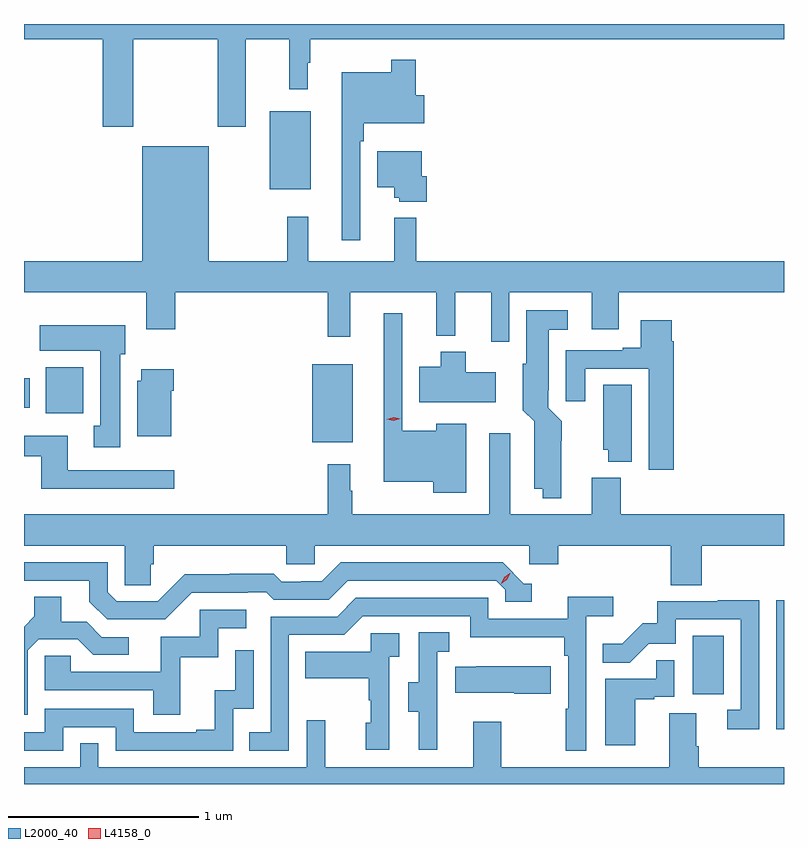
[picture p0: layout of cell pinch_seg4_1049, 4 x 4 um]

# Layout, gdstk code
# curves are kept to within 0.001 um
import gdstk
lib = gdstk.Library(unit=1e-6, precision=1e-09)
def R(c, l, rs):  # rectangles x0, y0, x1, y1
    for r in rs: c.add(gdstk.rectangle(r[:2], r[2:], *l))
def P(c, l, *ps):  # polygons
    for p in ps: c.add(gdstk.Polygon(p, *l))
L2000_40 = (2000, 40)
L4158_0 = (4158, 0)

pinch_seg4_1049 = lib.new_cell('pinch_seg4_1049')
R(pinch_seg4_1049, L2000_40, [(855.777,763.884,855.818,764.564), (855.338,764.07,855.502,764.377), (853.334,765.395,853.549,765.805), (851.933,765.548,852.13,765.79), (851.818,765.576,851.848,765.732), (853.112,766.727,853.327,767.137)])
P(pinch_seg4_1049, L2000_40, [(852.393,767.516),(852.838,767.516),(852.838,767.055),(852.985,767.055),(852.985,767.516),(853.213,767.516),(853.213,767.253),(853.312,767.253),(853.312,767.393),(853.324,767.393),(853.324,767.516),(855.818,767.516),(855.818,767.597),(851.818,767.597),(851.818,767.516),(852.233,767.516),(852.233,767.055),(852.393,767.055)],
  [(853.587,766.979),(853.607,766.979),(853.607,767.075),(853.924,767.075),(853.924,767.223),(853.88,767.223),(853.88,767.41),(853.752,767.41),(853.752,767.344),(853.49,767.344),(853.49,766.458),(853.587,766.458)],
  [(854.373,766.184),(854.807,766.184),(854.807,765.99),(854.947,765.99),(854.947,766.184),(855.818,766.184),(855.818,766.348),(853.883,766.348),(853.883,766.576),(853.766,766.576),(853.766,766.348),(853.313,766.348),(853.313,766.582),(853.203,766.582),(853.203,766.348),(852.79,766.348),(852.79,766.954),(852.44,766.954),(852.44,766.348),(851.818,766.348),(851.818,766.184),(852.461,766.184),(852.461,765.99),(852.614,765.99),(852.614,766.184),(853.417,766.184),(853.417,765.951),(853.535,765.951),(853.535,766.184),(853.988,766.184),(853.988,765.956),(854.087,765.956),(854.087,766.184),(854.276,766.184),(854.276,765.924),(854.373,765.924)],
  [(853.937,766.797),(853.912,766.797),(853.912,766.927),(853.676,766.927),(853.676,766.739),(853.766,766.739),(853.766,766.683),(853.794,766.683),(853.794,766.661),(853.937,766.661)],
  [(854.646,765.404),(854.647,765.506),(854.577,765.576),(854.577,765.67),(854.581,765.67),(854.581,765.989),(854.68,765.989),(854.68,766.09),(854.462,766.09),(854.462,765.81),(854.444,765.81),(854.444,765.565),(854.504,765.506),(854.504,765.152),(854.549,765.152),(854.549,765.101),(854.646,765.101)],
  [(854.146,765.493),(853.988,765.493),(853.988,765.457),(853.809,765.457),(853.809,766.075),(853.712,766.075),(853.712,765.188),(853.971,765.188),(853.971,765.131),(854.146,765.131)],
  [(855.239,765.926),(855.226,765.926),(855.226,766.039),(855.065,766.039),(855.065,765.892),(854.969,765.892),(854.969,765.879),(854.669,765.879),(854.669,765.612),(854.773,765.612),(854.773,765.783),(855.107,765.783),(855.107,765.252),(855.239,765.252)],
  [(852.325,765.858),(852.352,765.858),(852.352,766.012),(851.901,766.012),(851.901,765.878),(852.218,765.878),(852.218,765.482),(852.185,765.482),(852.185,765.369),(852.325,765.369)],
  [(854.302,765.763),(854.142,765.763),(854.142,765.871),(854.012,765.871),(854.012,765.793),(853.898,765.793),(853.898,765.605),(854.302,765.605)],
  [(852.592,765.668),(852.605,765.668),(852.605,765.781),(852.434,765.781),(852.434,765.72),(852.413,765.72),(852.413,765.428),(852.592,765.428)],
  [(855.016,765.698),(854.867,765.698),(854.867,765.357),(854.894,765.357),(854.894,765.293),(855.016,765.293)],
  [(852.485,764.754),(852.5,764.754),(852.5,764.852),(853.197,764.852),(853.197,764.754),(853.347,764.754),(853.347,764.852),(854.478,764.852),(854.478,764.754),(854.63,764.754),(854.63,764.852),(855.221,764.852),(855.221,764.644),(855.386,764.644),(855.386,764.852),(855.818,764.852),(855.818,765.016),(854.96,765.016),(854.96,765.208),(854.807,765.208),(854.807,765.016),(854.377,765.016),(854.377,765.442),(854.267,765.442),(854.267,765.016),(853.546,765.016),(853.546,765.14),(853.534,765.14),(853.534,765.28),(853.417,765.28),(853.417,765.016),(851.818,765.016),(851.818,764.852),(852.348,764.852),(852.348,764.644),(852.485,764.644)],
  [(852.61,765.249),(852.049,765.249),(852.049,765.43),(851.818,765.43),(851.818,765.321),(851.909,765.321),(851.909,765.152),(852.61,765.152)],
  [(852.702,764.604),(852.995,764.604),(852.995,764.607),(853.094,764.607),(853.133,764.568),(853.422,764.568),(853.521,764.667),(854.304,764.667),(854.352,764.619),(854.352,764.556),(854.491,764.556),(854.491,764.652),(854.448,764.652),(854.337,764.763),(853.484,764.763),(853.385,764.664),(853.278,764.664),(853.278,764.661),(853.175,764.661),(853.133,764.704),(852.9,764.704),(852.9,764.701),(852.664,764.701),(852.522,764.559),(852.306,764.559),(852.258,764.607),(852.258,764.763),(851.818,764.763),(851.818,764.667),(852.161,764.667),(852.161,764.557),(852.255,764.463),(852.561,764.463)],
  [(851.838,764.301),(851.895,764.358),(852.101,764.358),(852.182,764.277),(852.37,764.277),(852.37,764.37),(852.228,764.37),(852.148,764.45),(852.013,764.45),(852.013,764.582),(851.873,764.582),(851.873,764.48),(851.818,764.425),(851.818,763.962),(851.838,763.962)],
  [(853.212,764.382),(853.503,764.382),(853.602,764.481),(854.166,764.481),(854.166,764.369),(854.662,764.369),(854.662,764.273),(854.682,764.273),(854.682,763.994),(854.67,763.994),(854.67,763.773),(854.778,763.773),(854.778,764.48),(854.92,764.48),(854.92,764.582),(854.681,764.582),(854.681,764.466),(854.262,764.466),(854.262,764.577),(853.565,764.577),(853.466,764.478),(853.116,764.478),(853.116,763.869),(853.003,763.869),(853.003,763.773),(853.212,763.773)],
  [(855.687,764.564),(855.469,764.564),(855.469,764.559),(855.151,764.559),(855.151,764.442),(855.074,764.442),(854.967,764.335),(854.863,764.335),(854.863,764.236),(855.007,764.236),(855.105,764.334),(855.249,764.334),(855.249,764.463),(855.591,764.463),(855.591,763.989),(855.519,763.989),(855.519,763.884),(855.687,763.884)],
  [(852.641,764.265),(852.84,764.265),(852.84,764.418),(852.988,764.418),(852.988,764.514),(852.744,764.514),(852.744,764.373),(852.539,764.373),(852.539,764.187),(852.065,764.187),(852.065,764.271),(851.928,764.271),(851.928,764.091),(852.497,764.091),(852.497,763.962),(852.641,763.962)],
  [(853.994,763.989),(853.992,763.989),(853.992,764.293),(854.056,764.293),(854.056,764.396),(853.896,764.396),(853.896,764.133),(853.841,764.133),(853.841,763.978),(853.895,763.978),(853.895,763.776),(853.994,763.776)],
  [(853.74,764.267),(853.792,764.267),(853.792,764.391),(853.644,764.391),(853.644,764.293),(853.297,764.293),(853.297,764.153),(853.632,764.153),(853.632,764.039),(853.642,764.039),(853.642,763.92),(853.616,763.92),(853.616,763.776),(853.74,763.776)],
  [(852.024,763.896),(852.3,763.896),(852.3,763.773),(852.918,763.773),(852.918,763.992),(853.026,763.992),(853.026,764.302),(852.93,764.302),(852.93,764.09),(852.821,764.09),(852.821,763.882),(852.725,763.882),(852.725,763.869),(852.396,763.869),(852.396,763.992),(851.928,763.992),(851.928,763.869),(851.818,763.869),(851.818,763.773),(852.024,763.773)],
  [(855.034,764.043),(855.134,764.043),(855.134,764.055),(855.24,764.055),(855.24,764.249),(855.145,764.249),(855.145,764.151),(854.876,764.151),(854.876,763.8),(855.034,763.8)],
  [(854.59,764.218),(854.197,764.218),(854.197,764.215),(854.089,764.215),(854.089,764.078),(854.399,764.078),(854.399,764.071),(854.59,764.071)],
  [(855.818,763.684),(855.368,763.684),(855.368,763.796),(855.355,763.796),(855.355,763.97),(855.215,763.97),(855.215,763.684),(854.331,763.684),(854.331,763.924),(854.183,763.924),(854.183,763.684),(853.403,763.684),(853.403,763.933),(853.305,763.933),(853.305,763.684),(852.21,763.684),(852.21,763.811),(852.114,763.811),(852.114,763.684),(851.818,763.684),(851.818,763.597),(855.818,763.597)])
P(pinch_seg4_1049, L4158_0, [(853.764,765.508),(853.728,765.516),(853.728,765.516),(853.728,765.516),(853.763,765.528),(853.799,765.52),(853.799,765.52),(853.799,765.519)],
  [(854.329,764.652),(854.329,764.652),(854.345,764.685),(854.375,764.705),(854.376,764.705),(854.376,764.705),(854.36,764.672),(854.329,764.652)])

lib.write_gds('pinch_seg4_1049.gds')
